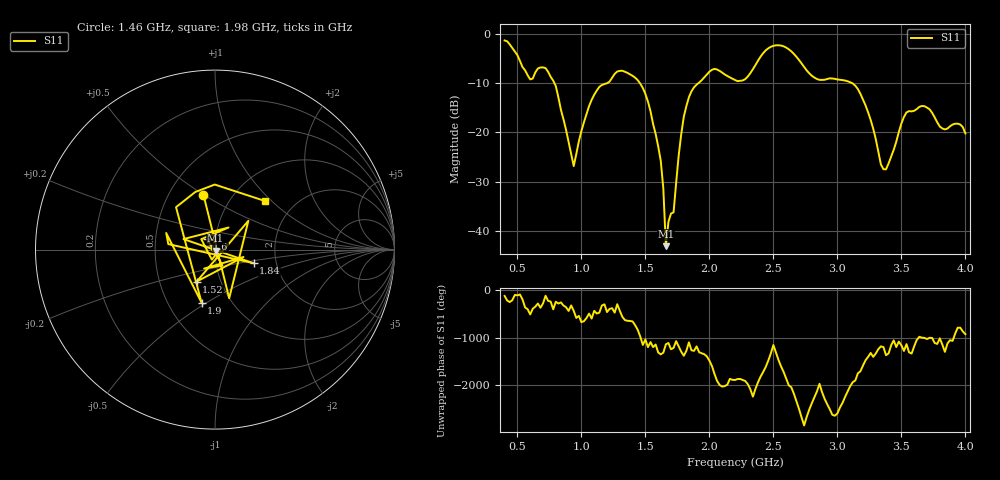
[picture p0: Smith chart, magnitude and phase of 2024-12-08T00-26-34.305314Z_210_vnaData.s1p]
!Created with skrf (http://scikit-rf.org).
# Hz S RI R 50.0
!freq ReS11 ImS11
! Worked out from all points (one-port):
!   181 points, 400 MHz to 4 GHz, reference 50 ohm
!   lowest |S11| = -43.1 dB at 1.66 GHz (marker M1), VSWR 1.01, Z = 50.3 - j0.612 ohm
!   |S11| at or under -10 dB: 789.2 MHz to 1.201 GHz (411.8 MHz wide, 41.4 % of centre); 1.457 GHz to 1.914 GHz (456.6 MHz wide, 27.1 % of centre); 3.116 GHz to end of sweep
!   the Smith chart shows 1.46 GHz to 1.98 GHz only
!   S11 on the Smith chart (normalised r, x): 1.46 GHz: 0.74, +0.50; 1.52 GHz: 0.77, -0.29; 1.6 GHz: 0.91, +0.11; 1.84 GHz: 1.52, -0.24; 1.9 GHz: 0.73, -0.48; 1.98 GHz: 1.43, +0.91
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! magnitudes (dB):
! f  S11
! 400 MHz  -1.3
! 600 MHz  -9.2
! 720 MHz  -6.9
! 800 MHz  -10.6
! 860 MHz  -17.3
! 940 MHz  -26.8
! 1.08 GHz  -13.4
! 1.3 GHz  -7.5
! 1.46 GHz  -10.1
! 1.52 GHz  -13.8
! 1.6 GHz  -22.8
! 1.64 GHz  -31.4
! 1.66 GHz  -43.1
! 1.68 GHz  -38.1
! 1.72 GHz  -36.2
! 1.76 GHz  -24.7
! 1.84 GHz  -12.8
! 1.9 GHz  -10.3
! 1.98 GHz  -8.2
! 2.2 GHz  -9.4
! 2.48 GHz  -2.6
! 2.66 GHz  -4.0
! 2.84 GHz  -9.1
! 3.1 GHz  -9.8
! 3.22 GHz  -14.5
! 3.36 GHz  -27.5
! 3.56 GHz  -15.7
! 4 GHz  -20.2
